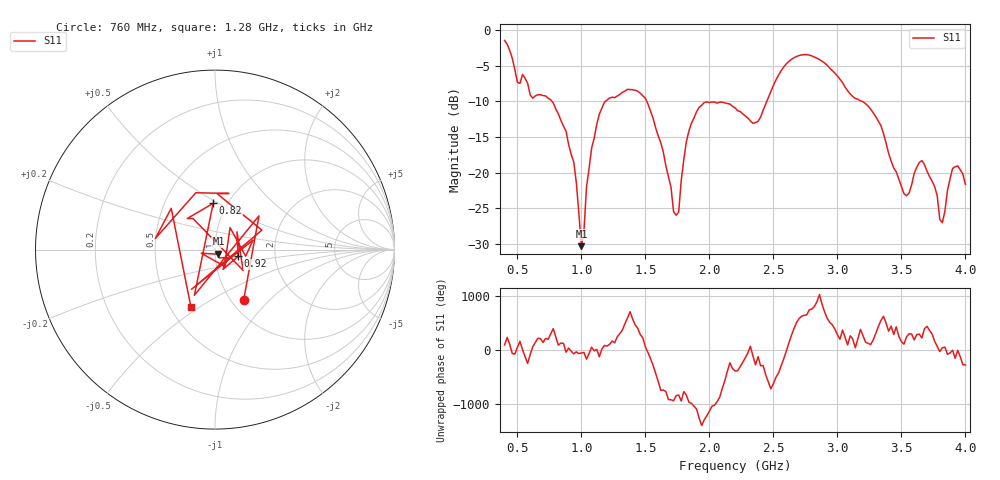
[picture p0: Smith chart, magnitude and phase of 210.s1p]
!Created with skrf (http://scikit-rf.org).
# Hz S RI R 50.0
!freq ReS11 ImS11
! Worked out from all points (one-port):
!   181 points, 400 MHz to 4 GHz, reference 50 ohm
!   lowest |S11| = -30.3 dB at 1 GHz (marker M1), VSWR 1.06, Z = 51.9 - j2.45 ohm
!   |S11| at or under -10 dB: 770.2 MHz to 1.189 GHz (418.4 MHz wide, 42.7 % of centre); 1.511 GHz to 2.448 GHz (937.8 MHz wide, 47.4 % of centre); 3.191 GHz to end of sweep
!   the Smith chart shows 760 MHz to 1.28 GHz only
!   S11 on the Smith chart (normalised r, x): 760 MHz: 1.14, -0.72; 820 MHz: 0.86, +0.47; 920 MHz: 1.29, -0.10; 1.28 GHz: 0.63, -0.46
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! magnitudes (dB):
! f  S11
! 400 MHz  -1.5
! 500 MHz  -7.3
! 760 MHz  -9.8
! 820 MHz  -11.8
! 860 MHz  -13.5
! 920 MHz  -17.4
! 960 MHz  -21.4
! 1 GHz  -30.3
! 1.04 GHz  -22.0
! 1.12 GHz  -13.2
! 1.28 GHz  -9.3
! 1.3 GHz  -9.0
! 1.5 GHz  -9.6
! 1.64 GHz  -17.1
! 1.72 GHz  -25.5
! 1.76 GHz  -25.6
! 1.82 GHz  -15.7
! 1.9 GHz  -11.4
! 2.2 GHz  -10.9
! 2.38 GHz  -12.8
! 2.66 GHz  -3.9
! 3.1 GHz  -9.0
! 3.3 GHz  -12.2
! 3.56 GHz  -22.9
! 3.66 GHz  -18.3
! 3.82 GHz  -27.0
! 3.9 GHz  -19.4
! 4 GHz  -21.7
